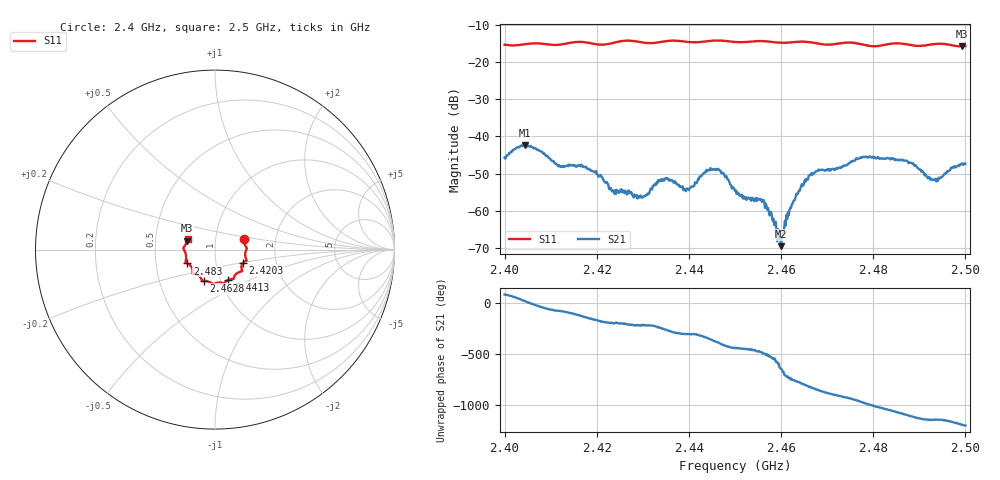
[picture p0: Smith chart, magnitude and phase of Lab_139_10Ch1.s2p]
# Hz S RI R 50
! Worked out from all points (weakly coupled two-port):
!   601 points, 2.4 GHz to 2.5 GHz, reference 50 ohm
!   highest |S21| = -42.29 dB at 2.4045 GHz (marker M1); lowest = -69.5 dB at 2.46 GHz (marker M2)
!   lowest |S11| = -15.8 dB at 2.4993 GHz (marker M3), VSWR 1.39, Z = 36.5 + j3.72 ohm
!   |S11| at or under -10 dB: start of sweep to end of sweep
!   S12 and S22 are empty: the file has one direction only
!   S11 on the Smith chart (normalised r, x): 2.4 GHz: 1.37, +0.16; 2.4203 GHz: 1.35, -0.21; 2.4413 GHz: 1.09, -0.38; 2.4628 GHz: 0.83, -0.30; 2.483 GHz: 0.72, -0.11; 2.5 GHz: 0.73, +0.09
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2.4e9  0.1612 0.0566  0.000588 0.00516  0 0  0 0
2.4045e9  0.1731 0.0152  0.00734 0.00227  0 0  0 0
2.412e9  0.1683 -0.0319  0.000924 -0.00385  0 0  0 0
2.416667e9  0.1758 -0.0616  -0.00244 -0.00337  0 0  0 0
2.420333e9  0.1553 -0.0741  -0.00284 -0.000425  0 0  0 0
2.423667e9  0.1477 -0.1056  -0.00173 0.000611  0 0  0 0
2.428833e9  0.1423 -0.123  -0.00119 0.000836  0 0  0 0
2.433333e9  0.108 -0.1482  -0.0014 0.00217  0 0  0 0
2.439333e9  0.0915 -0.1637  0.00101 0.00152  0 0  0 0
2.441333e9  0.0744 -0.1684  0.00142 0.00195  0 0  0 0
2.446167e9  0.0491 -0.1886  0.00336 -0.00135  0 0  0 0
2.45e9  0.0293 -0.1837  0.000261 -0.00184  0 0  0 0
2.455833e9  -0.0116 -0.1909  -0.000701 -0.00111  0 0  0 0
2.46e9  -0.039 -0.1774  8e-05 0.000324  0 0  0 0
2.462833e9  -0.0628 -0.1745  0.00113 -0.000776  0 0  0 0
2.466667e9  -0.0743 -0.1676  -0.000992 -0.00307  0 0  0 0
2.477667e9  -0.1243 -0.119  -0.00175 0.00499  0 0  0 0
2.483e9  -0.1547 -0.0769  0.00388 0.0033  0 0  0 0
2.483333e9  -0.157 -0.0759  0.00414 0.00291  0 0  0 0
2.4935e9  -0.1751 0.00369  0.00133 -0.00233  0 0  0 0
2.499333e9  -0.1544 0.0497  -0.00144 -0.00407  0 0  0 0
2.5e9  -0.1528 0.0585  -0.00194 -0.00383  0 0  0 0
